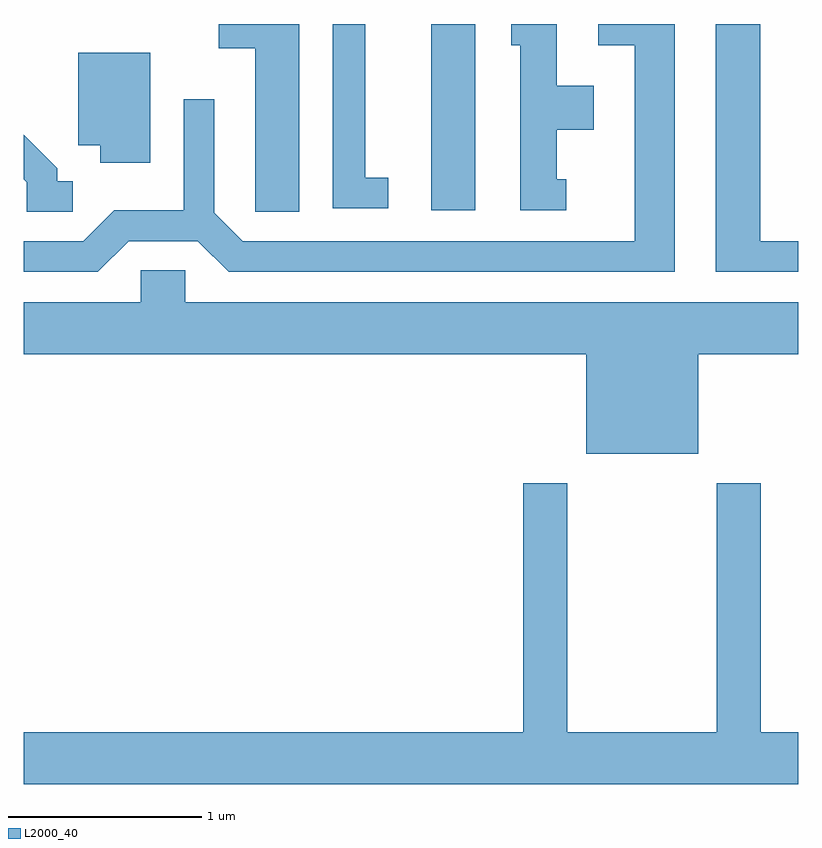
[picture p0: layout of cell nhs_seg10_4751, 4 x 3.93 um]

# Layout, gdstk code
import gdstk
lib = gdstk.Library(unit=1e-6, precision=1e-09)
def R(c, l, rs):  # rectangles x0, y0, x1, y1
    for r in rs: c.add(gdstk.rectangle(r[:2], r[2:], *l))
def P(c, l, *ps):  # polygons
    for p in ps: c.add(gdstk.Polygon(p, *l))
L2000_40 = (2000, 40)

nhs_seg10_4751 = lib.new_cell('nhs_seg10_4751')
R(nhs_seg10_4751, L2000_40, [(327.716,2103.561,327.944,2104.522)])
P(nhs_seg10_4751, L2000_40, [(326.152,2103.401),(326.509,2103.401),(326.669,2103.241),(328.974,2103.241),(328.974,2104.522),(328.578,2104.522),(328.578,2104.411),(328.766,2104.411),(328.766,2103.399),(326.742,2103.399),(326.594,2103.547),(326.594,2104.133),(326.436,2104.133),(326.436,2103.559),(326.079,2103.559),(325.919,2103.399),(325.611,2103.399),(325.611,2103.241),(325.992,2103.241)],
  [(327.034,2104.522),(326.618,2104.522),(326.618,2104.396),(326.806,2104.396),(326.806,2103.551),(327.034,2103.551)],
  [(329.611,2103.399),(329.414,2103.399),(329.414,2104.522),(329.186,2104.522),(329.186,2103.241),(329.611,2103.241)],
  [(328.413,2103.719),(328.364,2103.719),(328.364,2103.976),(328.554,2103.976),(328.554,2104.204),(328.364,2104.204),(328.364,2104.522),(328.128,2104.522),(328.128,2104.411),(328.176,2104.411),(328.176,2103.561),(328.413,2103.561)],
  [(327.493,2103.729),(327.374,2103.729),(327.374,2104.522),(327.206,2104.522),(327.206,2103.571),(327.493,2103.571)],
  [(326.264,2104.374),(325.891,2104.374),(325.891,2103.896),(326.006,2103.896),(326.006,2103.806),(326.264,2103.806)],
  [(325.863,2103.709),(325.784,2103.709),(325.784,2103.777),(325.611,2103.95),(325.611,2103.719),(325.626,2103.704),(325.626,2103.551),(325.863,2103.551)],
  [(329.094,2102.816),(329.611,2102.816),(329.611,2103.084),(326.444,2103.084),(326.444,2103.249),(326.216,2103.249),(326.216,2103.084),(325.611,2103.084),(325.611,2102.816),(328.516,2102.816),(328.516,2102.301),(329.094,2102.301)],
  [(329.611,2100.864),(329.419,2100.864),(329.419,2102.149),(329.191,2102.149),(329.191,2100.864),(328.419,2100.864),(328.419,2102.149),(328.191,2102.149),(328.191,2100.864),(325.611,2100.864),(325.611,2100.596),(329.611,2100.596)])

lib.write_gds('nhs_seg10_4751.gds')
